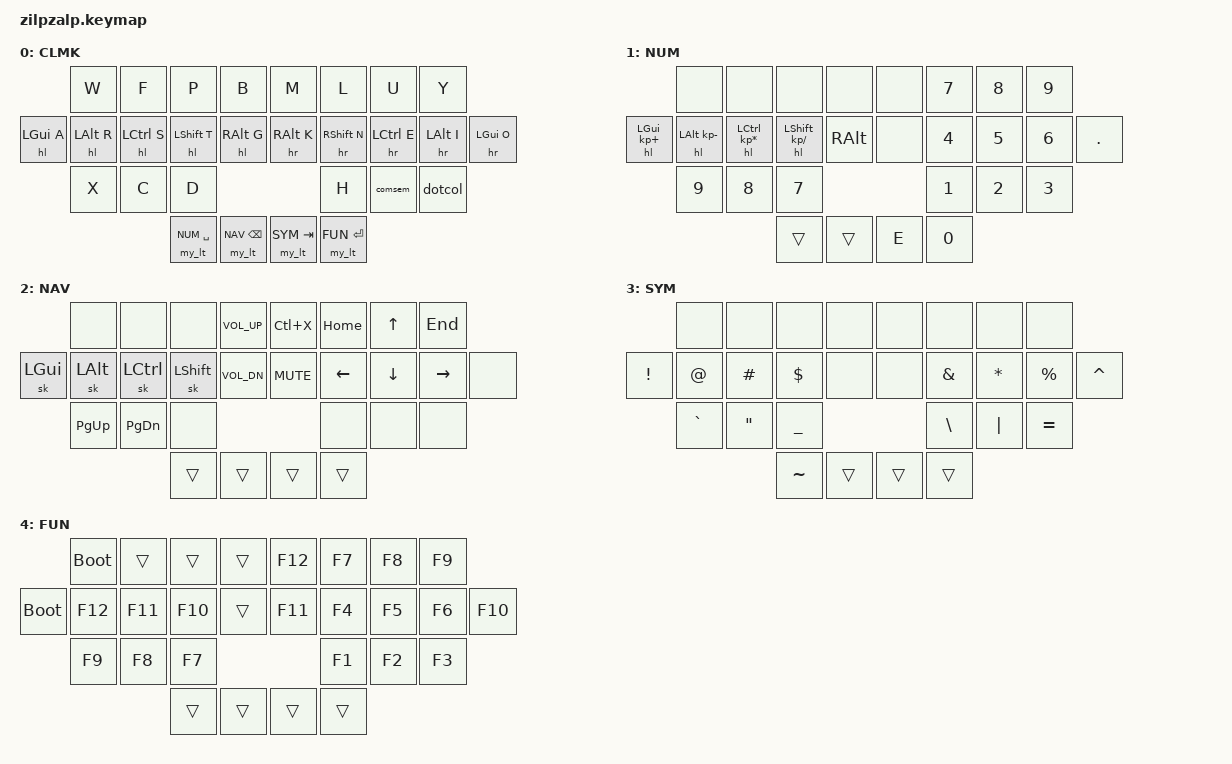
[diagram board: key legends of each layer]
#ifdef ZILPZALP_BLE_FLAG
#include <dt-bindings/zmk/bt.h>
#include <dt-bindings/zmk/outputs.h>
#endif

#include "base_zilpzalp.h"


// zilpzalp key numbers
//     __________________________  __________________________
//    /     0  |  1  |  2  |  3  \/   4 |   5 |   6 |   7    \
// |  8  |  9  | 10  | 11  | 12  /\  13 |  14 |  15 |  16 | 17  |
//    \    18  | 19  | 20    /        \    21 |  22 |  23   /
//          \    24  | 25  /            \  26 |  27    /
//           --------------              --------------

/ {

    keymap {
        compatible = "zmk,keymap";

        aptmak {
            label = "CLMK";

            bindings = <
                               &kp W          &kp F          &kp P          &kp B          &kp M          &kp L          &kp U          &kp Y
                &hl LGUI A     &hl LALT R     &hl LCTL S     &hl LSHFT T    &hl RALT G     &hr RALT K     &hr RSHFT N    &hr LCTL E     &hr LALT I     &hr LGUI O
                               &kp X          &kp C          &kp D                                        &kp H          &comsem        &dotcol
                                                             &my_lt NUM SPACE &my_lt NAV BSPC &my_lt SYM TAB &my_lt FUN RET
            >;
        };
        numbers {
            label = "NUM";

            bindings = <
                                  &none             &none                &none              &none          &none          &kp N7         &kp N8         &kp N9
                &hl LGUI KP_PLUS &hl LALT KP_MINUS &hl LCTL KP_ASTERISK &hl LSHFT KP_SLASH &kp RALT       &none          &kp N4         &kp N5         &kp N6         &kp DOT
                                  &kp N9            &kp N8               &kp N7                                           &kp N1         &kp N2         &kp N3
                                                             &trans         &trans         &kp E          &kp N0
            >;
        };
        navigation {
            label = "NAV";

            bindings = <
                               &none          &none          &none           &kp C_VOL_UP   &kp LC(X)      &kp HOME       &kp UP         &kp END
                &sk LGUI       &sk LALT       &sk LCTL       &sk LSHFT       &kp C_VOL_DN   &kp C_MUTE     &kp LEFT       &kp DOWN       &kp RIGHT         &none
                               &kp PG_UP      &kp PG_DN      &none                                         &none          &none          &none
                                                             &trans          &trans         &trans         &trans
            >;
        };
        symbols {
            label = "SYM";

            bindings = <
                               &none          &none          &none            &none          &none          &none          &none          &none
                &kp EXCL       &kp AT         &kp HASH       &kp DOLLAR       &none          &none          &kp AMPERSAND  &kp ASTERISK   &kp PERCENT    &kp CARET
                               &kp GRAVE      &kp DQT        &kp UNDERSCORE                                 &kp BACKSLASH  &kp PIPE       &kp EQUAL
                                                             &kp TILDE        &trans         &trans         &trans
            >;
        };
        function {
            label = "FUN";

            bindings = <
                               &bootloader    &trans         &trans         &trans         &kp F12        &kp F7         &kp F8         &kp F9
                &bootloader    &kp F12        &kp F11        &kp F10        &trans         &kp F11        &kp F4         &kp F5         &kp F6         &kp F10
                               &kp F9         &kp F8         &kp F7                                       &kp F1         &kp F2         &kp F3
                                                             &trans         &trans         &trans         &trans
            >;
        };

    };
};

//     __________________________  __________________________
//    /     1  |  2  |  3  |  4  \/   5 |   6 |   7 |   8    \
// | 10  | 11  | 12  | 13  | 14  ||  15 |  16 |  17 |  18 | 19  |
//    \    20  | 21  | 22  |     ||     |  23 |  24 |  25   /
//                \    26  | 27  /\  28 |  29    /
//                 --------------  --------------
